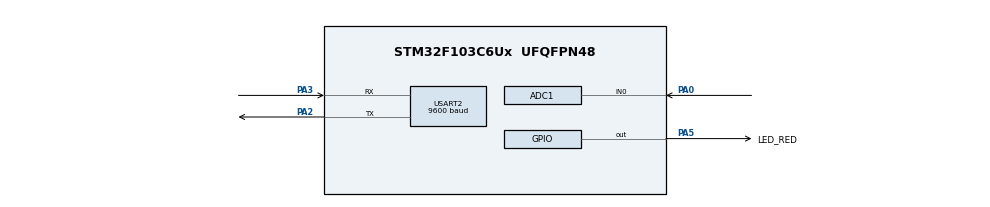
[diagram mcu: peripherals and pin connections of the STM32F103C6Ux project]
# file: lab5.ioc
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ADC1.Channel-0\#ChannelRegularConversion=ADC_CHANNEL_0
ADC1.ContinuousConvMode=ENABLE
ADC1.NbrOfConversionFlag=1
ADC1.Rank-0\#ChannelRegularConversion=1
ADC1.SamplingTime-0\#ChannelRegularConversion=ADC_SAMPLETIME_1CYCLE_5
ADC1.master=1
Mcu.Family=STM32F1
Mcu.Name=STM32F103C6Ux
Mcu.Package=UFQFPN48
NVIC.PriorityGroup=NVIC_PRIORITYGROUP_4
NVIC.TIM2_IRQn=true\:0\:0\:false\:false\:true\:true\:true
NVIC.USART2_IRQn=true\:0\:0\:false\:false\:true\:true\:true
PA0-WKUP.Signal=ADCx_IN0
PA2.Mode=Asynchronous
PA2.Signal=USART2_TX
PA3.Mode=Asynchronous
PA3.Signal=USART2_RX
PA5.GPIO_Label=LED_RED
PA5.Signal=GPIO_Output
ProjectManager.HeapSize=0x200
ProjectManager.StackSize=0x400
ProjectManager.TargetToolchain=STM32CubeIDE
RCC.APB1Freq_Value=8000000
RCC.APB2Freq_Value=8000000
SH.ADCx_IN0.0=ADC1_IN0,IN0
TIM2.Period=9
TIM2.Prescaler=7999
USART2.BaudRate=9600
USART2.VirtualMode=VM_ASYNC
VP_SYS_VS_ND.Mode=No_Debug
VP_TIM2_VS_ClockSourceINT.Mode=Internal
board=custom

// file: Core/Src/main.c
/* USER CODE BEGIN Header */
/**
  ******************************************************************************
  * @file           : main.c
  * @brief          : Main program body
  ******************************************************************************
  * @attention
  *
  * <h2><center>&copy; Copyright (c) 2022 STMicroelectronics.
  * All rights reserved.</center></h2>
  *
  * This software component is licensed by ST under BSD 3-Clause license,
  * the "License"; You may not use this file except in compliance with the
  * License. You may obtain a copy of the License at:
  *                        opensource.org/licenses/BSD-3-Clause
  *
  ******************************************************************************
  */
/* USER CODE END Header */
#include "main.h"

/* USER CODE BEGIN Includes */
#include "command_parser_fsm.h"
#include "uart_communication_fsm.h"
/* USER CODE END Includes */

ADC_HandleTypeDef hadc1;

TIM_HandleTypeDef htim2;

UART_HandleTypeDef huart2;

void SystemClock_Config(void);
static void MX_GPIO_Init(void);
static void MX_ADC1_Init(void);
static void MX_USART2_UART_Init(void);
static void MX_TIM2_Init(void);

/* USER CODE BEGIN 0 */
void HAL_UART_RxCpltCallback (UART_HandleTypeDef * huart) {
	if (huart -> Instance == USART2) {
		buffer[index_buffer++] = temp;
		if (index_buffer == 30) {
			index_buffer = 0;
		}
		buffer_flag = 1;
		HAL_UART_Transmit(huart, &temp, 1, 50);
		HAL_UART_Receive_IT(&huart2, &temp, 1);
	}
}
/* USER CODE END 0 */

int main(void)
{

  /* MCU Configuration--------------------------------------------------------*/

  /* Reset of all peripherals, Initializes the Flash interface and the Systick. */
  HAL_Init();

  /* Configure the system clock */
  SystemClock_Config();

  /* Initialize all configured peripherals */
  MX_GPIO_Init();
  MX_ADC1_Init();
  MX_USART2_UART_Init();
  MX_TIM2_Init();
  /* USER CODE BEGIN 2 */
  HAL_UART_Receive_IT(&huart2, &temp, 1);
  HAL_TIM_Base_Start_IT(&htim2);
  HAL_ADC_Start(&hadc1);
  /* USER CODE END 2 */

  /* Infinite loop */
  /* USER CODE BEGIN WHILE */
  com_status = COM_INIT;
  uart_status = UART_INIT;
  while (1)
  {
	  if (buffer_flag == 1) {
		  HAL_GPIO_TogglePin(LED_RED_GPIO_Port, LED_RED_Pin);
		  command_parser_fsm(hadc1);
		  buffer_flag = 0;
	  }
	  uart_communication_fsm(huart2);
    /* USER CODE END WHILE */

  }
}

void SystemClock_Config(void)
{
  RCC_OscInitTypeDef RCC_OscInitStruct = {0};
  RCC_ClkInitTypeDef RCC_ClkInitStruct = {0};
  RCC_PeriphCLKInitTypeDef PeriphClkInit = {0};

  /** Initializes the RCC Oscillators according to the specified parameters
  * in the RCC_OscInitTypeDef structure.
  */
  RCC_OscInitStruct.OscillatorType = RCC_OSCILLATORTYPE_HSI;
  RCC_OscInitStruct.HSIState = RCC_HSI_ON;
  RCC_OscInitStruct.HSICalibrationValue = RCC_HSICALIBRATION_DEFAULT;
  RCC_OscInitStruct.PLL.PLLState = RCC_PLL_NONE;
  if (HAL_RCC_OscConfig(&RCC_OscInitStruct) != HAL_OK)
  {
    Error_Handler();
  }
  /** Initializes the CPU, AHB and APB buses clocks
  */
  RCC_ClkInitStruct.ClockType = RCC_CLOCKTYPE_HCLK|RCC_CLOCKTYPE_SYSCLK
                              |RCC_CLOCKTYPE_PCLK1|RCC_CLOCKTYPE_PCLK2;
  RCC_ClkInitStruct.SYSCLKSource = RCC_SYSCLKSOURCE_HSI;
  RCC_ClkInitStruct.AHBCLKDivider = RCC_SYSCLK_DIV1;
  RCC_ClkInitStruct.APB1CLKDivider = RCC_HCLK_DIV1;
  RCC_ClkInitStruct.APB2CLKDivider = RCC_HCLK_DIV1;

  if (HAL_RCC_ClockConfig(&RCC_ClkInitStruct, FLASH_LATENCY_0) != HAL_OK)
  {
    Error_Handler();
  }
  PeriphClkInit.PeriphClockSelection = RCC_PERIPHCLK_ADC;
  PeriphClkInit.AdcClockSelection = RCC_ADCPCLK2_DIV2;
  if (HAL_RCCEx_PeriphCLKConfig(&PeriphClkInit) != HAL_OK)
  {
    Error_Handler();
  }
}

static void MX_ADC1_Init(void)
{

  ADC_ChannelConfTypeDef sConfig = {0};

  /** Common config
  */
  hadc1.Instance = ADC1;
  hadc1.Init.ScanConvMode = ADC_SCAN_DISABLE;
  hadc1.Init.ContinuousConvMode = ENABLE;
  hadc1.Init.DiscontinuousConvMode = DISABLE;
  hadc1.Init.ExternalTrigConv = ADC_SOFTWARE_START;
  hadc1.Init.DataAlign = ADC_DATAALIGN_RIGHT;
  hadc1.Init.NbrOfConversion = 1;
  if (HAL_ADC_Init(&hadc1) != HAL_OK)
  {
    Error_Handler();
  }
  /** Configure Regular Channel
  */
  sConfig.Channel = ADC_CHANNEL_0;
  sConfig.Rank = ADC_REGULAR_RANK_1;
  sConfig.SamplingTime = ADC_SAMPLETIME_1CYCLE_5;
  if (HAL_ADC_ConfigChannel(&hadc1, &sConfig) != HAL_OK)
  {
    Error_Handler();
  }

}

static void MX_TIM2_Init(void)
{

  TIM_ClockConfigTypeDef sClockSourceConfig = {0};
  TIM_MasterConfigTypeDef sMasterConfig = {0};

  htim2.Instance = TIM2;
  htim2.Init.Prescaler = 7999;
  htim2.Init.CounterMode = TIM_COUNTERMODE_UP;
  htim2.Init.Period = 9;
  htim2.Init.ClockDivision = TIM_CLOCKDIVISION_DIV1;
  htim2.Init.AutoReloadPreload = TIM_AUTORELOAD_PRELOAD_DISABLE;
  if (HAL_TIM_Base_Init(&htim2) != HAL_OK)
  {
    Error_Handler();
  }
  sClockSourceConfig.ClockSource = TIM_CLOCKSOURCE_INTERNAL;
  if (HAL_TIM_ConfigClockSource(&htim2, &sClockSourceConfig) != HAL_OK)
  {
    Error_Handler();
  }
  sMasterConfig.MasterOutputTrigger = TIM_TRGO_RESET;
  sMasterConfig.MasterSlaveMode = TIM_MASTERSLAVEMODE_DISABLE;
  if (HAL_TIMEx_MasterConfigSynchronization(&htim2, &sMasterConfig) != HAL_OK)
  {
    Error_Handler();
  }

}

static void MX_USART2_UART_Init(void)
{

  huart2.Instance = USART2;
  huart2.Init.BaudRate = 9600;
  huart2.Init.WordLength = UART_WORDLENGTH_8B;
  huart2.Init.StopBits = UART_STOPBITS_1;
  huart2.Init.Parity = UART_PARITY_NONE;
  huart2.Init.Mode = UART_MODE_TX_RX;
  huart2.Init.HwFlowCtl = UART_HWCONTROL_NONE;
  huart2.Init.OverSampling = UART_OVERSAMPLING_16;
  if (HAL_UART_Init(&huart2) != HAL_OK)
  {
    Error_Handler();
  }

}

static void MX_GPIO_Init(void)
{
  GPIO_InitTypeDef GPIO_InitStruct = {0};

  /* GPIO Ports Clock Enable */
  __HAL_RCC_GPIOA_CLK_ENABLE();

  /*Configure GPIO pin Output Level */
  HAL_GPIO_WritePin(LED_RED_GPIO_Port, LED_RED_Pin, GPIO_PIN_RESET);

  /*Configure GPIO pin : LED_RED_Pin */
  GPIO_InitStruct.Pin = LED_RED_Pin;
  GPIO_InitStruct.Mode = GPIO_MODE_OUTPUT_PP;
  GPIO_InitStruct.Pull = GPIO_NOPULL;
  GPIO_InitStruct.Speed = GPIO_SPEED_FREQ_LOW;
  HAL_GPIO_Init(LED_RED_GPIO_Port, &GPIO_InitStruct);

}

/* USER CODE BEGIN 4 */
void HAL_TIM_PeriodElapsedCallback(TIM_HandleTypeDef *htim) {
	TimerRun();
}
/* USER CODE END 4 */

void Error_Handler(void)
{
  __disable_irq();
  while (1)
  {
  }
}

/************************ (C) COPYRIGHT STMicroelectronics *****END OF FILE****/
